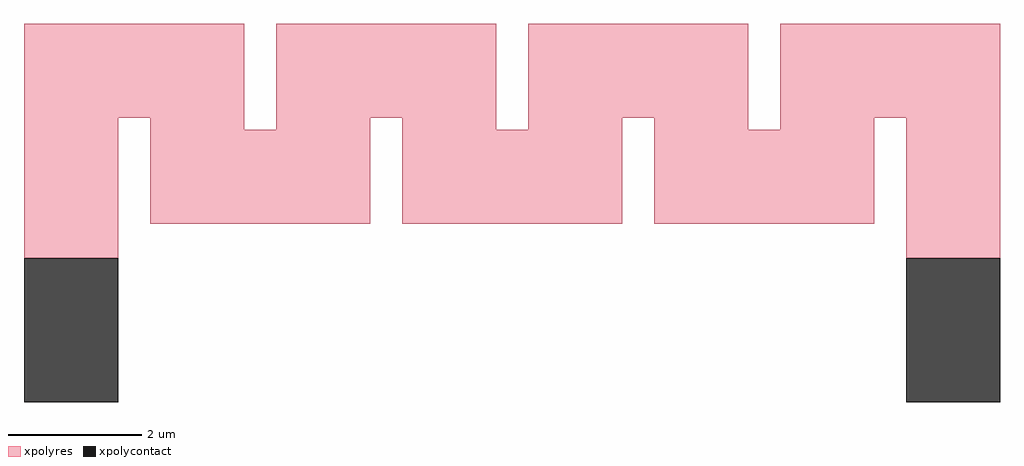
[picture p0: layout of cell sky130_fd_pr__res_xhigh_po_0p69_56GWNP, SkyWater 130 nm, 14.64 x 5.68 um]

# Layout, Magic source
magic
tech sky130A
<< xpolycontact >>
rect -732 -284 -591 -68
rect 591 -284 732 -68
<< xpolyres >>
rect -732 143 -402 284
rect -732 -68 -591 143
rect -543 125 -402 143
rect -354 143 -24 284
rect -354 125 -213 143
rect -543 -16 -213 125
rect -165 125 -24 143
rect 24 143 354 284
rect 24 125 165 143
rect -165 -16 165 125
rect 213 125 354 143
rect 402 143 732 284
rect 402 125 543 143
rect 213 -16 543 125
rect 591 -68 732 143
<< properties >>
string gencell sky130_fd_pr__res_xhigh_po_0p69
string library sky130
string parameters w 1.410 l 3 m 1 nx 8 wmin 1.410 lmin 0.50 rho 2000 val 48.309k dummy 0 dw 0.0 term 188.2 sterm 0.0 caplen 0 wmax 1.410 guard 0 glc 0 grc 0 gtc 0 gbc 0 compatible {sky130_fd_pr__res_xhigh_po_0p35  sky130_fd_pr__res_xhigh_po_0p69 sky130_fd_pr__res_xhigh_po_1p41  sky130_fd_pr__res_xhigh_po_2p85 sky130_fd_pr__res_xhigh_po_5p73} snake 1 full_metal 0 n_guard 0 hv_guard 0 vias 1 viagb 0 viagt 0 viagl 0 viagr 0
<< end >>
